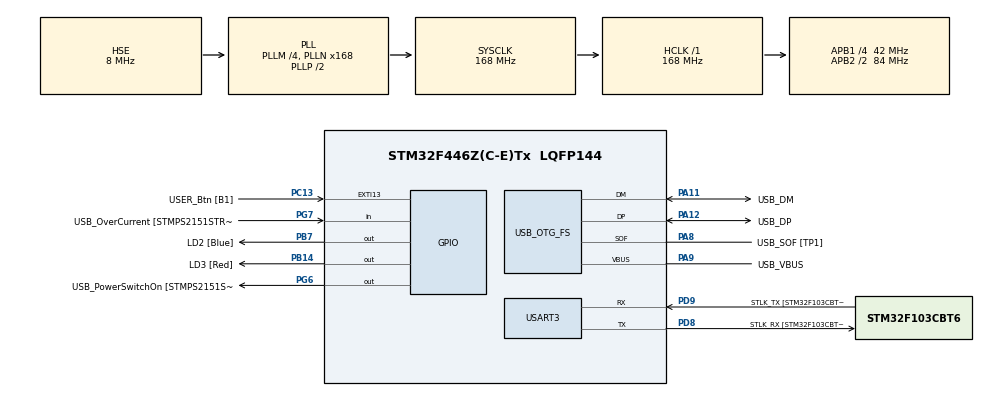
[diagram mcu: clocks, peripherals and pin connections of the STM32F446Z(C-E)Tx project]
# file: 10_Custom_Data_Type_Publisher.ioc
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FREERTOS.Tasks01=defaultTask,0,128,StartDefaultTask,Default,NULL
Mcu.Family=STM32F4
Mcu.Name=STM32F446Z(C-E)Tx
Mcu.Package=LQFP144
NVIC.PriorityGroup=NVIC_PRIORITYGROUP_4
NVIC.TIM1_UP_TIM10_IRQn=true\:0\:0\:false\:false\:true\:false\:false\:true
NVIC.TimeBase=TIM1_UP_TIM10_IRQn
NVIC.TimeBaseIP=TIM1
PA10.GPIO_Label=USB_ID
PA10.Signal=USB_OTG_FS_ID
PA11.GPIO_Label=USB_DM
PA11.Mode=Device_Only
PA11.Signal=USB_OTG_FS_DM
PA12.GPIO_Label=USB_DP
PA12.Mode=Device_Only
PA12.Signal=USB_OTG_FS_DP
PA13.GPIO_Label=TMS
PA13.Mode=Serial_Wire
PA13.Signal=SYS_JTMS-SWDIO
PA14.GPIO_Label=TCK
PA14.Mode=Serial_Wire
PA14.Signal=SYS_JTCK-SWCLK
PA8.GPIO_Label=USB_SOF [TP1]
PA8.Mode=Activate_SOF_FS
PA8.Signal=USB_OTG_FS_SOF
PA9.GPIO_Label=USB_VBUS
PA9.Mode=Activate_VBUS
PA9.Signal=USB_OTG_FS_VBUS
PB14.GPIO_Label=LD3 [Red]
PB14.Signal=GPIO_Output
PB7.GPIO_Label=LD2 [Blue]
PB7.Signal=GPIO_Output
PC13.GPIO_Label=USER_Btn [B1]
PC13.Signal=GPXTI13
PC14-OSC32_IN.Mode=LSE-External-Oscillator
PC14-OSC32_IN.Signal=RCC_OSC32_IN
PC15-OSC32_OUT.Mode=LSE-External-Oscillator
PC15-OSC32_OUT.Signal=RCC_OSC32_OUT
PD8.GPIO_Label=STLK_RX [STM32F103CBT6_PA3]
PD8.Mode=Asynchronous
PD8.Signal=USART3_TX
PD9.GPIO_Label=STLK_TX [STM32F103CBT6_PA2]
PD9.Mode=Asynchronous
PD9.Signal=USART3_RX
PG6.GPIO_Label=USB_PowerSwitchOn [STMPS2151STR_EN]
PG6.Signal=GPIO_Output
PG7.GPIO_Label=USB_OverCurrent [STMPS2151STR_FAULT]
PG7.Signal=GPIO_Input
PH0-OSC_IN.GPIO_Label=MCO [STM32F103CBT6_PA8]
PH0-OSC_IN.Mode=HSE-External-Clock-Source
PH0-OSC_IN.Signal=RCC_OSC_IN
PH1-OSC_OUT.Mode=HSE-External-Clock-Source
PH1-OSC_OUT.Signal=RCC_OSC_OUT
ProjectManager.HeapSize=0x200
ProjectManager.StackSize=0x400
ProjectManager.TargetToolchain=STM32CubeIDE
RCC.48MHZClocksFreq_Value=24000000
RCC.AHBFreq_Value=168000000
RCC.APB1CLKDivider=RCC_HCLK_DIV4
RCC.APB1Freq_Value=42000000
RCC.APB1TimFreq_Value=84000000
RCC.APB2CLKDivider=RCC_HCLK_DIV2
RCC.APB2Freq_Value=84000000
RCC.APB2TimFreq_Value=168000000
RCC.CortexFreq_Value=168000000
RCC.HCLKFreq_Value=168000000
RCC.HSE_VALUE=8000000
RCC.HSI_VALUE=16000000
RCC.PLLM=4
RCC.PLLMUL=RCC_PLL_MUL9
RCC.PLLN=168
RCC.PLLQ=7
RCC.PRESCALERUSB=RCC_USBCLKSOURCE_PLL_DIV1_5
RCC.SYSCLKFreq_VALUE=168000000
RCC.SYSCLKSource=RCC_SYSCLKSOURCE_PLLCLK
RCC.SYSCLKSourceVirtual=RCC_SYSCLKSOURCE_PLLCLK
RCC.USBFreq_Value=48000000
RCC.VCOOutputFreq_Value=336000000
USART3.VirtualMode=VM_ASYNC
USB_OTG_FS.VirtualMode=Device_Only
VP_FREERTOS_VS_CMSIS_V1.Mode=CMSIS_V1
VP_SYS_VS_tim1.Mode=TIM1
board=NUCLEO-F446ZE

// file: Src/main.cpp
/* USER CODE BEGIN Header */
/**
  ******************************************************************************
  * @file           : main.c
  * @brief          : Main program body
  ******************************************************************************
  * @attention
  *
  * <h2><center>&copy; Copyright (c) 2019 STMicroelectronics.
  * All rights reserved.</center></h2>
  *
  * This software component is licensed by ST under BSD 3-Clause license,
  * the "License"; You may not use this file except in compliance with the
  * License. You may obtain a copy of the License at:
  *                        opensource.org/licenses/BSD-3-Clause
  *
  ******************************************************************************
  */
/* USER CODE END Header */

#include "main.h"
#include "cmsis_os.h"

/* USER CODE BEGIN Includes */
#include <uavcan_stm32/uavcan_stm32.hpp>
#include <uavcan/uavcan.hpp>

#include <custom_data_types/MyNumbers.hpp>
/* USER CODE END Includes */

/* USER CODE BEGIN PD */
#define CAN_THRAD_STACK_SIZE 512

#define DEBUG_BUFFER_SIZE    (256)
#define DEBUG_TIMEOUT        (1000)
/* USER CODE END PD */

UART_HandleTypeDef huart3;

PCD_HandleTypeDef hpcd_USB_OTG_FS;

osThreadId defaultTaskHandle;
/* USER CODE BEGIN PV */
uint32_t defaultTaskBuffer[ CAN_THRAD_STACK_SIZE ];
osStaticThreadDef_t defaultTaskControlBlock;

osSemaphoreId DEBUG_TX_completeID;
osSemaphoreDef(DEBUG_TX_complete);
uint8_t DEBUG_TX_Buffer[DEBUG_BUFFER_SIZE] = {0};  //!< Debug buffer.
/* USER CODE END PV */

void SystemClock_Config(void);
static void MX_GPIO_Init(void);
static void MX_USART3_UART_Init(void);
static void MX_USB_OTG_FS_PCD_Init(void);

/* USER CODE BEGIN PFP */
extern "C" {
	void StartDefaultTask(void const * argument);
}

bool DEBUG_Init(void);
void DEBUG_Printf(const char *fmt, ...);
/* USER CODE END PFP */

/* USER CODE BEGIN 0 */
constexpr unsigned NodePoolSize = 8192;
uavcan_stm32::CanInitHelper<> can;

uavcan::Node<NodePoolSize>& getNode() {
    static uavcan::Node<NodePoolSize> node(can.driver, uavcan_stm32::SystemClock::instance());
    return node;
}
/* USER CODE END 0 */

int main(void)
{

  /* MCU Configuration--------------------------------------------------------*/

  /* Reset of all peripherals, Initializes the Flash interface and the Systick. */
  HAL_Init();

  /* Configure the system clock */
  SystemClock_Config();

  /* Initialize all configured peripherals */
  MX_GPIO_Init();
  MX_USART3_UART_Init();
  MX_USB_OTG_FS_PCD_Init();
  /* USER CODE BEGIN 2 */
  GPIO_InitTypeDef GPIO_InitStruct = {0};

  __HAL_RCC_CAN1_CLK_ENABLE();

  __HAL_RCC_GPIOD_CLK_ENABLE();
  /**CAN1 GPIO Configuration
  PD0     ------> CAN1_RX
  PD1     ------> CAN1_TX
  */
  GPIO_InitStruct.Pin = GPIO_PIN_0|GPIO_PIN_1;
  GPIO_InitStruct.Mode = GPIO_MODE_AF_PP;
  GPIO_InitStruct.Pull = GPIO_NOPULL;
  GPIO_InitStruct.Speed = GPIO_SPEED_FREQ_VERY_HIGH;
  GPIO_InitStruct.Alternate = GPIO_AF9_CAN1;
  HAL_GPIO_Init(GPIOD, &GPIO_InitStruct);

  DEBUG_Init();
  /* USER CODE END 2 */

  /* Create the thread(s) */
  /* definition and creation of defaultTask */
  osThreadStaticDef(defaultTask, StartDefaultTask, osPriorityNormal, 0, CAN_THRAD_STACK_SIZE, defaultTaskBuffer, &defaultTaskControlBlock);
  defaultTaskHandle = osThreadCreate(osThread(defaultTask), NULL);

  /* Start scheduler */
  osKernelStart();

  /* We should never get here as control is now taken by the scheduler */

  /* Infinite loop */
  while (1)
  {

  }
}

void SystemClock_Config(void)
{
  RCC_OscInitTypeDef RCC_OscInitStruct = {0};
  RCC_ClkInitTypeDef RCC_ClkInitStruct = {0};
  RCC_PeriphCLKInitTypeDef PeriphClkInitStruct = {0};

  /** Configure the main internal regulator output voltage
  */
  __HAL_RCC_PWR_CLK_ENABLE();
  __HAL_PWR_VOLTAGESCALING_CONFIG(PWR_REGULATOR_VOLTAGE_SCALE1);
  /** Initializes the CPU, AHB and APB busses clocks
  */
  RCC_OscInitStruct.OscillatorType = RCC_OSCILLATORTYPE_HSE;
  RCC_OscInitStruct.HSEState = RCC_HSE_BYPASS;
  RCC_OscInitStruct.PLL.PLLState = RCC_PLL_ON;
  RCC_OscInitStruct.PLL.PLLSource = RCC_PLLSOURCE_HSE;
  RCC_OscInitStruct.PLL.PLLM = 4;
  RCC_OscInitStruct.PLL.PLLN = 168;
  RCC_OscInitStruct.PLL.PLLP = RCC_PLLP_DIV2;
  RCC_OscInitStruct.PLL.PLLQ = 7;
  RCC_OscInitStruct.PLL.PLLR = 2;
  if (HAL_RCC_OscConfig(&RCC_OscInitStruct) != HAL_OK)
  {
    Error_Handler();
  }
  /** Initializes the CPU, AHB and APB busses clocks
  */
  RCC_ClkInitStruct.ClockType = RCC_CLOCKTYPE_HCLK|RCC_CLOCKTYPE_SYSCLK
                              |RCC_CLOCKTYPE_PCLK1|RCC_CLOCKTYPE_PCLK2;
  RCC_ClkInitStruct.SYSCLKSource = RCC_SYSCLKSOURCE_PLLCLK;
  RCC_ClkInitStruct.AHBCLKDivider = RCC_SYSCLK_DIV1;
  RCC_ClkInitStruct.APB1CLKDivider = RCC_HCLK_DIV4;
  RCC_ClkInitStruct.APB2CLKDivider = RCC_HCLK_DIV2;

  if (HAL_RCC_ClockConfig(&RCC_ClkInitStruct, FLASH_LATENCY_5) != HAL_OK)
  {
    Error_Handler();
  }
  PeriphClkInitStruct.PeriphClockSelection = RCC_PERIPHCLK_CLK48;
  PeriphClkInitStruct.Clk48ClockSelection = RCC_CLK48CLKSOURCE_PLLQ;
  if (HAL_RCCEx_PeriphCLKConfig(&PeriphClkInitStruct) != HAL_OK)
  {
    Error_Handler();
  }
}

static void MX_USART3_UART_Init(void)
{

  huart3.Instance = USART3;
  huart3.Init.BaudRate = 115200;
  huart3.Init.WordLength = UART_WORDLENGTH_8B;
  huart3.Init.StopBits = UART_STOPBITS_1;
  huart3.Init.Parity = UART_PARITY_NONE;
  huart3.Init.Mode = UART_MODE_TX_RX;
  huart3.Init.HwFlowCtl = UART_HWCONTROL_NONE;
  huart3.Init.OverSampling = UART_OVERSAMPLING_16;
  if (HAL_UART_Init(&huart3) != HAL_OK)
  {
    Error_Handler();
  }

}

static void MX_USB_OTG_FS_PCD_Init(void)
{

  hpcd_USB_OTG_FS.Instance = USB_OTG_FS;
  hpcd_USB_OTG_FS.Init.dev_endpoints = 6;
  hpcd_USB_OTG_FS.Init.speed = PCD_SPEED_FULL;
  hpcd_USB_OTG_FS.Init.dma_enable = DISABLE;
  hpcd_USB_OTG_FS.Init.phy_itface = PCD_PHY_EMBEDDED;
  hpcd_USB_OTG_FS.Init.Sof_enable = ENABLE;
  hpcd_USB_OTG_FS.Init.low_power_enable = DISABLE;
  hpcd_USB_OTG_FS.Init.lpm_enable = DISABLE;
  hpcd_USB_OTG_FS.Init.vbus_sensing_enable = ENABLE;
  hpcd_USB_OTG_FS.Init.use_dedicated_ep1 = DISABLE;
  if (HAL_PCD_Init(&hpcd_USB_OTG_FS) != HAL_OK)
  {
    Error_Handler();
  }

}

static void MX_GPIO_Init(void)
{
  GPIO_InitTypeDef GPIO_InitStruct = {0};

  /* GPIO Ports Clock Enable */
  __HAL_RCC_GPIOC_CLK_ENABLE();
  __HAL_RCC_GPIOH_CLK_ENABLE();
  __HAL_RCC_GPIOB_CLK_ENABLE();
  __HAL_RCC_GPIOD_CLK_ENABLE();
  __HAL_RCC_GPIOG_CLK_ENABLE();
  __HAL_RCC_GPIOA_CLK_ENABLE();

  /*Configure GPIO pin Output Level */
  HAL_GPIO_WritePin(GPIOB, LD3_Pin|LD2_Pin, GPIO_PIN_RESET);

  /*Configure GPIO pin Output Level */
  HAL_GPIO_WritePin(USB_PowerSwitchOn_GPIO_Port, USB_PowerSwitchOn_Pin, GPIO_PIN_RESET);

  /*Configure GPIO pin : USER_Btn_Pin */
  GPIO_InitStruct.Pin = USER_Btn_Pin;
  GPIO_InitStruct.Mode = GPIO_MODE_IT_RISING;
  GPIO_InitStruct.Pull = GPIO_NOPULL;
  HAL_GPIO_Init(USER_Btn_GPIO_Port, &GPIO_InitStruct);

  /*Configure GPIO pins : LD3_Pin LD2_Pin */
  GPIO_InitStruct.Pin = LD3_Pin|LD2_Pin;
  GPIO_InitStruct.Mode = GPIO_MODE_OUTPUT_PP;
  GPIO_InitStruct.Pull = GPIO_NOPULL;
  GPIO_InitStruct.Speed = GPIO_SPEED_FREQ_LOW;
  HAL_GPIO_Init(GPIOB, &GPIO_InitStruct);

  /*Configure GPIO pin : USB_PowerSwitchOn_Pin */
  GPIO_InitStruct.Pin = USB_PowerSwitchOn_Pin;
  GPIO_InitStruct.Mode = GPIO_MODE_OUTPUT_PP;
  GPIO_InitStruct.Pull = GPIO_NOPULL;
  GPIO_InitStruct.Speed = GPIO_SPEED_FREQ_LOW;
  HAL_GPIO_Init(USB_PowerSwitchOn_GPIO_Port, &GPIO_InitStruct);

  /*Configure GPIO pin : USB_OverCurrent_Pin */
  GPIO_InitStruct.Pin = USB_OverCurrent_Pin;
  GPIO_InitStruct.Mode = GPIO_MODE_INPUT;
  GPIO_InitStruct.Pull = GPIO_NOPULL;
  HAL_GPIO_Init(USB_OverCurrent_GPIO_Port, &GPIO_InitStruct);

}

/* USER CODE BEGIN 4 */
bool DEBUG_Init(void)
{
    if ((DEBUG_TX_completeID = osSemaphoreCreate(osSemaphore(DEBUG_TX_complete), 1)) == NULL)
    {
        return false;
    }
    return true;
}

void DEBUG_Printf(const char *fmt, ...)
{
    uint16_t i = 0;
    va_list args;
    if (osSemaphoreWait(DEBUG_TX_completeID, 1000) == osOK)
    {
        va_start(args, fmt);
        i = vsnprintf((char*) DEBUG_TX_Buffer, DEBUG_BUFFER_SIZE - 1, fmt, args);
        DEBUG_TX_Buffer[i] = 0x00;

        uint16_t retry = 4096;

        while ((retry--)&&(HAL_UART_Transmit(&huart3, &DEBUG_TX_Buffer[0], strlen((char*)&DEBUG_TX_Buffer[0]), 0xFFF) != HAL_OK));

        va_end(args);
        osSemaphoreRelease(DEBUG_TX_completeID);
    }
    return;
}
/* USER CODE END 4 */

void StartDefaultTask(void const * argument)
{

  /* USER CODE BEGIN 5 */
	uint32_t value = 1000000;

	can.init(value);

	getNode().setName("org.test.CustomDataTypesPublisher");
	getNode().setNodeID(6);

	if (getNode().start() < 0) {
		DEBUG_Printf("UAVCAN start fail\r\n");
	    while (1);
	}

	using custom_data_types::MyNumbers;
    uavcan::Publisher<custom_data_types::MyNumbers> pub(getNode());

    const int pub_init_res = pub.init();
    if (pub_init_res < 0)
    {
    	DEBUG_Printf("Failed to start the publisher\r\n");
    }

	getNode().setModeOperational();

  /* Infinite loop */
  for(;;)
  {
	  const int res = getNode().spin(uavcan::MonotonicDuration::fromMSec(500));
	  if (res < 0) {
		  DEBUG_Printf("UAVCAN spin fail\r\n");
		  while(1);
	  }

	  custom_data_types::MyNumbers msg;  // Always zero initialized
	  msg.x = std::rand() / float(RAND_MAX);
	  msg.y = 123.123;

      const int pub_res = pub.broadcast(msg);
      if (pub_res < 0)
      {
      	DEBUG_Printf("publication failure\r\n");
      }

  }
  /* USER CODE END 5 */
}

void HAL_TIM_PeriodElapsedCallback(TIM_HandleTypeDef *htim)
{
  if (htim->Instance == TIM1) {
    HAL_IncTick();
  }
}

void Error_Handler(void)
{
}

/************************ (C) COPYRIGHT STMicroelectronics *****END OF FILE****/
